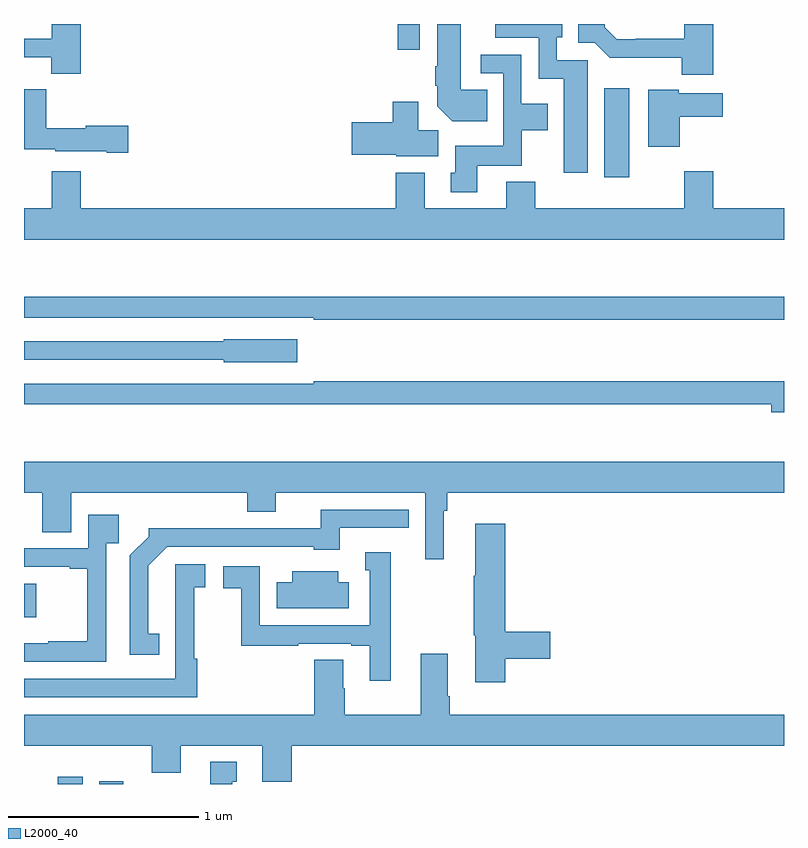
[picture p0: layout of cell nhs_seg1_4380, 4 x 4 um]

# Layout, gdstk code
import gdstk
lib = gdstk.Library(unit=1e-6, precision=1e-09)
def R(c, l, rs):  # rectangles x0, y0, x1, y1
    for r in rs: c.add(gdstk.rectangle(r[:2], r[2:], *l))
def P(c, l, *ps):  # polygons
    for p in ps: c.add(gdstk.Polygon(p, *l))
L2000_40 = (2000, 40)

nhs_seg1_4380 = lib.new_cell('nhs_seg1_4380')
R(nhs_seg1_4380, L2000_40, [(349.178,550.199,349.309,550.237), (349.397,550.199,349.522,550.213), (349,551.076,349.064,551.253), (352.055,553.392,352.186,553.861), (350.968,554.064,351.084,554.199)])
P(nhs_seg1_4380, L2000_40, [(351.437,553.852),(351.298,553.852),(351.298,554.199),(351.176,554.199),(351.176,553.976),(351.164,553.976),(351.164,553.873),(351.176,553.873),(351.176,553.766),(351.254,553.688),(351.437,553.688)],
  [(349.298,554.199),(349.145,554.199),(349.145,554.121),(349,554.121),(349,554.024),(349.143,554.024),(349.143,553.937),(349.298,553.937)],
  [(351.967,554.007),(351.804,554.007),(351.804,554.13),(351.832,554.13),(351.832,554.199),(351.48,554.199),(351.48,554.126),(351.708,554.126),(351.708,553.91),(351.842,553.91),(351.842,553.416),(351.967,553.416)],
  [(352.628,554.199),(352.475,554.199),(352.475,554.121),(352.219,554.121),(352.219,554.118),(352.12,554.118),(352.056,554.182),(352.056,554.197),(351.917,554.197),(351.917,554.1),(352.005,554.1),(352.084,554.022),(352.463,554.022),(352.463,553.932),(352.628,553.932)],
  [(351.385,553.454),(351.621,553.454),(351.621,553.64),(351.757,553.64),(351.757,553.78),(351.618,553.78),(351.618,554.037),(351.405,554.037),(351.405,553.941),(351.522,553.941),(351.522,553.558),(351.269,553.558),(351.269,553.416),(351.245,553.416),(351.245,553.314),(351.385,553.314)],
  [(349.549,553.664),(349.326,553.664),(349.326,553.651),(349.118,553.651),(349.118,553.855),(349,553.855),(349,553.541),(349.164,553.541),(349.164,553.529),(349.436,553.529),(349.436,553.522),(349.549,553.522)],
  [(352.45,553.712),(352.678,553.712),(352.678,553.834),(352.446,553.834),(352.446,553.852),(352.286,553.852),(352.286,553.554),(352.45,553.554)],
  [(351.181,553.64),(351.076,553.64),(351.076,553.789),(350.942,553.789),(350.942,553.682),(350.724,553.682),(350.724,553.511),(350.958,553.511),(350.958,553.502),(351.181,553.502)],
  [(353,553.228),(352.628,553.228),(352.628,553.423),(352.475,553.423),(352.475,553.228),(351.692,553.228),(351.692,553.369),(351.539,553.369),(351.539,553.228),(351.109,553.228),(351.109,553.417),(350.957,553.417),(350.957,553.228),(349.298,553.228),(349.298,553.423),(349.145,553.423),(349.145,553.228),(349,553.228),(349,553.064),(353,553.064)],
  [(353,552.763),(349,552.763),(349,552.654),(350.524,552.654),(350.524,552.642),(353,552.642)],
  [(350.437,552.541),(350.052,552.541),(350.052,552.528),(349,552.528),(349,552.432),(350.052,552.432),(350.052,552.419),(350.437,552.419)],
  [(353,552.319),(350.524,552.319),(350.524,552.306),(349,552.306),(349,552.198),(352.934,552.198),(352.934,552.155),(353,552.155)],
  [(351.208,551.636),(351.227,551.636),(351.227,551.732),(353,551.732),(353,551.896),(349,551.896),(349,551.732),(349.097,551.732),(349.097,551.524),(349.249,551.524),(349.249,551.732),(350.174,551.732),(350.174,551.633),(350.326,551.633),(350.326,551.732),(351.111,551.732),(351.111,551.382),(351.208,551.382)],
  [(349.712,550.991),(349.654,550.991),(349.654,551.347),(349.755,551.448),(350.526,551.448),(350.526,551.432),(350.662,551.432),(350.662,551.547),(351.026,551.547),(351.026,551.643),(350.563,551.643),(350.563,551.544),(350.09,551.544),(350.09,551.546),(349.656,551.546),(349.656,551.501),(349.557,551.402),(349.557,550.878),(349.712,550.878)],
  [(349.434,551.465),(349.499,551.465),(349.499,551.617),(349.338,551.617),(349.338,551.439),(349,551.439),(349,551.343),(349.241,551.343),(349.241,551.331),(349.333,551.331),(349.333,550.951),(349.127,550.951),(349.127,550.939),(349,550.939),(349,550.842),(349.434,550.842)],
  [(351.533,550.858),(351.769,550.858),(351.769,551),(351.533,551),(351.533,551.569),(351.374,551.569),(351.374,551.294),(351.367,551.294),(351.367,550.983),(351.374,550.983),(351.374,550.734),(351.533,550.734)],
  [(350.929,551.419),(350.795,551.419),(350.795,551.325),(350.82,551.325),(350.82,551.034),(350.241,551.034),(350.241,551.346),(350.049,551.346),(350.049,551.23),(350.143,551.23),(350.143,550.926),(350.444,550.926),(350.444,550.938),(350.723,550.938),(350.723,550.926),(350.819,550.926),(350.819,550.743),(350.929,550.743)],
  [(349.913,550.859),(349.896,550.859),(349.896,551.235),(349.954,551.235),(349.954,551.356),(349.796,551.356),(349.796,551.08),(349.797,551.08),(349.797,550.752),(349,550.752),(349,550.656),(349.913,550.656)],
  [(350.71,551.26),(350.653,551.26),(350.653,551.32),(350.411,551.32),(350.411,551.26),(350.33,551.26),(350.33,551.123),(350.71,551.123)],
  [(350.408,550.4),(353,550.4),(353,550.564),(351.242,550.564),(351.242,550.66),(351.229,550.66),(351.229,550.885),(351.089,550.885),(351.089,550.564),(350.688,550.564),(350.688,550.703),(350.68,550.703),(350.68,550.853),(350.528,550.853),(350.528,550.564),(349,550.564),(349,550.4),(349.673,550.4),(349.673,550.259),(349.825,550.259),(349.825,550.4),(350.255,550.4),(350.255,550.211),(350.408,550.211)],
  [(350.095,550.212),(350.119,550.212),(350.119,550.315),(349.979,550.315),(349.979,550.199),(350.095,550.199)])

lib.write_gds('nhs_seg1_4380.gds')
